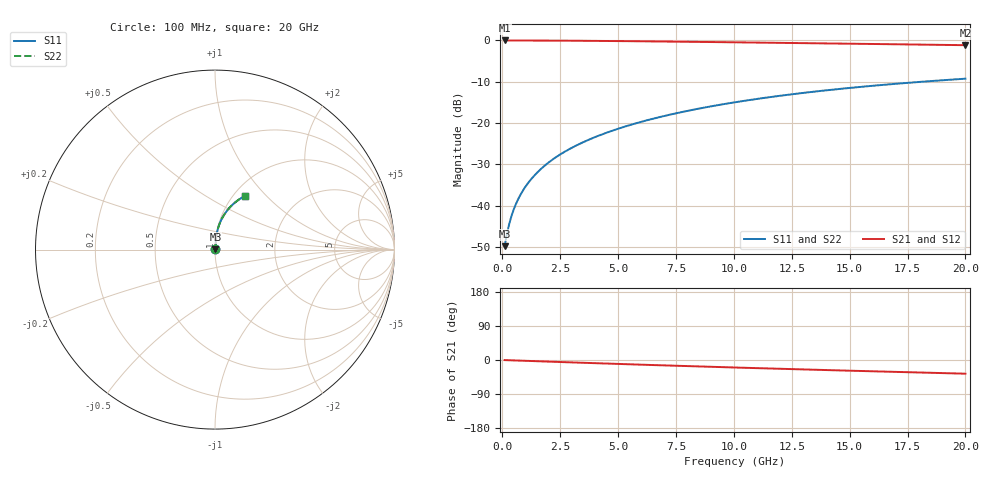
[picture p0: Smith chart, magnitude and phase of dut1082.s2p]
! Touchstone file exported from HFSS 2024.1.0
!  File:  C:/UserFiles/LocalFiles/RDL_TSV_Batchsim/temp_RDL_bottom_1082_1780053253.aedt
!  Generated:  07:16:49 PM May 29, 2026
!  Design:  RDL_bottom
!  Project:  temp_RDL_bottom_1082_1780053253
!  Setup:  Setup1
!  Solution:  Sweep
! Variables:
!  dtsv = 10.80580581um
!  hbump = 3um
!  htsv = 95.64um
!  ldown = 489um
!  lrdl = 100um
!  p = 40
!  p1 = 51.06um
!  rhole = 1um
!  t = 450um
!  tdown = 3.2um
!  trdl = 3.915915916um
!  wdown = 22.01um
!  wrdl = 20um
# GHz S MA R 50.000000
! Terminal data exported
! Port[1] = RDL1_T1
! Port[2] = RDL1_T2
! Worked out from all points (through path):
!   200 points, 100 MHz to 20 GHz, reference 50 ohm
!   highest |S21| = -0.02 dB at 100 MHz (marker M1); lowest = -1.2 dB at 20 GHz (marker M2)
!   group delay of S21, straight-line fit = 4.98 ps
!   lowest |S11| = -49.8 dB at 100 MHz (marker M3), VSWR 1.01, Z = 50.3 + j0.182 ohm
!   |S11| at or under -10 dB: start of sweep to 18.15 GHz
!   |S22| runs from -49.8 to -9.3 dB; largest |S21 - S12| = 2e-15
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0.1  0.003235 34.0  0.9973 -0.2  0.9973 -0.2  0.003235 34.0
! Gamma 0 0 0 0
! Port Impedance 50 0 50 0
0.2  0.004531 52.0  0.9972 -0.4  0.9972 -0.4  0.004531 52.0
0.3  0.006019 61.0  0.997 -0.7  0.997 -0.7  0.006019 61.0
0.4  0.007549 66.3  0.9969 -0.9  0.9969 -0.9  0.007549 66.3
0.5  0.009093 69.8  0.9967 -1.1  0.9967 -1.1  0.009093 69.8
0.6  0.01065 72.4  0.9966 -1.3  0.9966 -1.3  0.01065 72.4
0.8  0.01378 76.0  0.9963 -1.7  0.9963 -1.7  0.01378 76.0
1.1  0.01856 79.2  0.9958 -2.4  0.9958 -2.4  0.01856 79.2
1.3  0.02179 80.6  0.9954 -2.8  0.9954 -2.8  0.02179 80.6
1.6  0.02668 82.0  0.9947 -3.4  0.9947 -3.4  0.02668 82.0
2.1  0.03493 83.3  0.9934 -4.5  0.9934 -4.5  0.03493 83.3
2.7  0.045 84.1  0.9914 -5.7  0.9914 -5.7  0.045 84.1
3.5  0.0587 84.5  0.9882 -7.4  0.9882 -7.4  0.0587 84.5
4.2  0.07094 84.4  0.9848 -8.8  0.9848 -8.8  0.07094 84.4
5  0.08519 83.9  0.9805 -10.4  0.9805 -10.4  0.08519 83.9
5.9  0.1015 83.1  0.9752 -12.2  0.9752 -12.2  0.1015 83.1
6.8  0.118 82.1  0.9696 -13.9  0.9696 -13.9  0.118 82.1
8.4  0.1477 79.9  0.9589 -16.9  0.9589 -16.9  0.1477 79.9
10.1  0.1792 77.2  0.947 -19.9  0.947 -19.9  0.1792 77.2
13.4  0.2384 71.7  0.9231 -25.6  0.9231 -25.6  0.2384 71.7
16.7  0.2936 66.1  0.8988 -31.0  0.8988 -31.0  0.2936 66.1
20  0.3437 60.7  0.8743 -36.1  0.8743 -36.1  0.3437 60.7
